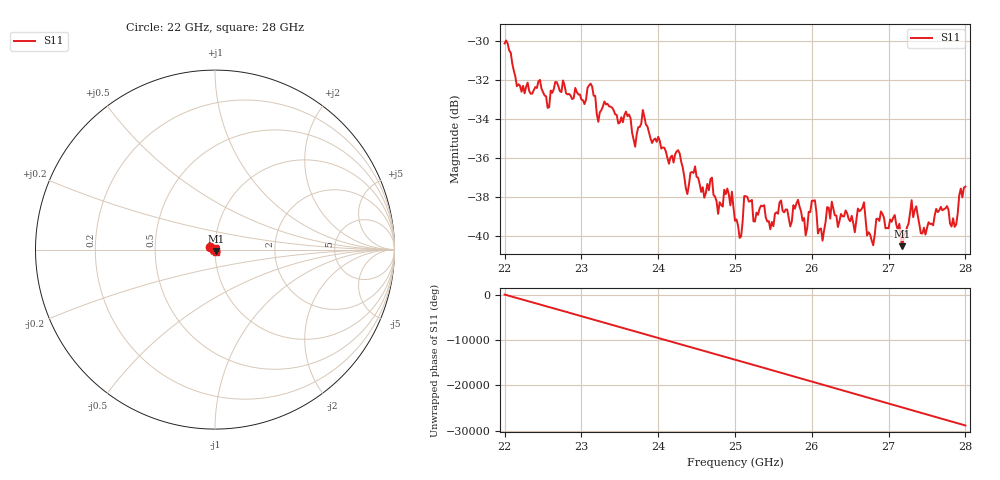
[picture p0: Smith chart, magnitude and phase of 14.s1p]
#  HZ  S  RI  R  50.00
! Rohde & Schwarz ZVA40 4Ports - Version 3.90 - 1145.1110k42 SN: 100403
! Date: 2023-10-04 10:25:06
! Measurement: S12
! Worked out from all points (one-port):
!   301 points, 22 GHz to 28 GHz, reference 50 ohm
!   lowest |S11| = -40.5 dB at 27.18 GHz (marker M1), VSWR 1.02, Z = 50.6 - j0.732 ohm
!   |S11| at or under -10 dB: start of sweep to end of sweep
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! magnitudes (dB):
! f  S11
! 22 GHz  -30.1
! 22.22 GHz  -32.6
! 22.76 GHz  -32.0
! 23.5 GHz  -34.2
! 23.7 GHz  -35.4
! 23.8 GHz  -33.5
! 24.14 GHz  -36.3
! 24.26 GHz  -35.6
! 24.38 GHz  -37.8
! 24.48 GHz  -36.4
! 24.6 GHz  -38.0
! 24.7 GHz  -37.0
! 24.78 GHz  -38.9
! 24.96 GHz  -37.7
! 25 GHz  -39.2
! 25.76 GHz  -38.4
! 25.92 GHz  -40.0
! 26.04 GHz  -38.2
! 26.14 GHz  -40.2
! 26.26 GHz  -38.2
! 26.5 GHz  -39.2
! 26.68 GHz  -38.3
! 26.8 GHz  -40.5
! 27.08 GHz  -38.9
! 27.18 GHz  -40.5
! 27.26 GHz  -39.4
! 27.86 GHz  -39.5
! 28 GHz  -37.5
